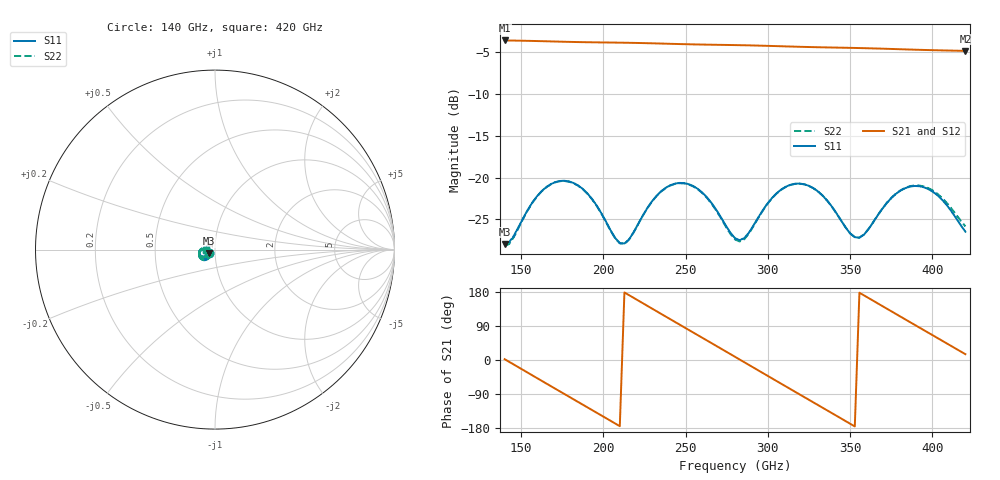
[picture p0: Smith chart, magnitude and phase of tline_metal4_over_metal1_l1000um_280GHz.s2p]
#  GHZ S DB R 50
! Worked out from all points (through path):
!   101 points, 140 GHz to 420 GHz, reference 50 ohm
!   highest |S21| = -3.65 dB at 140 GHz (marker M1); lowest = -4.9 dB at 420 GHz (marker M2)
!   group delay of S21, straight-line fit = 7.01 ps
!   lowest |S11| = -27.9 dB at 140 GHz (marker M3), VSWR 1.08, Z = 46.6 - j1.83 ohm
!   |S11| at or under -10 dB: start of sweep to end of sweep
!   |S22| runs from -28.2 to -20.4 dB; largest |S21 - S12| = 7.6e-14
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140  -27.92 -150.7  -3.65 2.2  -3.65 2.2  -28.19 -150.3
151.2  -24.87 -127.2  -3.68 -26.2  -3.68 -26.2  -24.95 -126.4
165.2  -21.16 -138.2  -3.74 -61.6  -3.74 -61.6  -21.19 -137.9
176.4  -20.39 -155.3  -3.80 -89.9  -3.80 -89.9  -20.42 -155.3
187.6  -21.38 -171.9  -3.85 -118.1  -3.85 -118.1  -21.41 -172.0
201.6  -25.27 179.8  -3.89 -153.4  -3.89 -153.4  -25.31 179.7
212.8  -27.88 -154.6  -3.92 178.2  -3.92 178.2  -27.92 -154.7
224  -24.53 -135.6  -3.96 149.8  -3.96 149.8  -24.55 -135.8
235.2  -21.63 -143.5  -4.02 121.5  -4.02 121.5  -21.66 -143.8
254.8  -21.04 -170.9  -4.11 72.1  -4.11 72.1  -21.09 -171.4
268.8  -23.91 176.5  -4.16 36.8  -4.16 36.8  -24.00 175.9
280  -27.24 -170.3  -4.20 8.5  -4.20 8.5  -27.39 -170.6
291.2  -25.73 -143.6  -4.24 -19.9  -4.24 -19.9  -25.81 -143.4
305.2  -21.90 -146.7  -4.32 -55.3  -4.32 -55.3  -21.92 -146.7
316.4  -20.75 -160.8  -4.39 -83.6  -4.39 -83.6  -20.77 -160.9
327.6  -21.26 -175.8  -4.44 -111.8  -4.44 -111.8  -21.28 -175.9
341.6  -24.25 174.3  -4.50 -147.0  -4.50 -147.0  -24.26 174.2
352.8  -27.13 -170.1  -4.54 -175.3  -4.54 -175.3  -27.12 -170.2
375.2  -22.41 -148.9  -4.66 128.0  -4.66 128.0  -22.38 -149.0
386.4  -21.08 -161.4  -4.73 99.8  -4.73 99.8  -21.03 -161.3
397.6  -21.39 -175.6  -4.79 71.7  -4.79 71.7  -21.27 -175.3
420  -26.47 -179.7  -4.89 15.3  -4.89 15.3  -25.84 179.6
